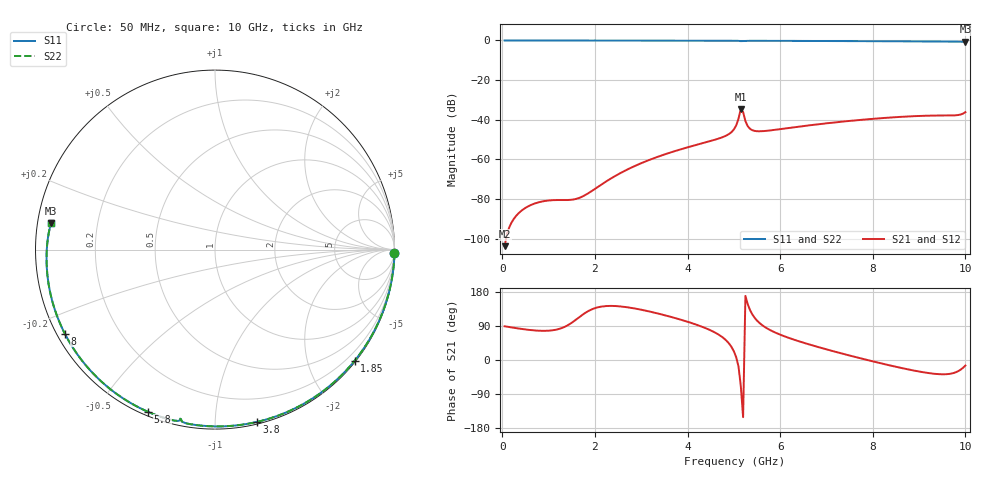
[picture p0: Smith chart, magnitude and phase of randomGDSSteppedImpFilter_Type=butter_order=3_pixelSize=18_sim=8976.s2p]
! freq	dB(S11)	phase(S11)	dB(S12)	phase(S12)
!  dB(S21)	phase(S21)	dB(S22)	phase(S22)
!S-par simulation data
#  GHz  S  DB  R 50
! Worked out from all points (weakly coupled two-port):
!   200 points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, 50 MHz to 10 GHz, reference 50 ohm
!   highest |S21| = -34.48 dB at 5.15 GHz (marker M1); lowest = -103.7 dB at 50 MHz (marker M2)
!   lowest |S11| = -0.7 dB at 10 GHz (marker M3), VSWR 25.72, Z = 1.96 + j3.98 ohm
!   |S11| at or under -10 dB: nowhere
!   |S22| runs from -0.7 to 0.0 dB; largest |S21 - S12| = 0
!   S11 on the Smith chart (normalised r, x): 50 MHz: open; 1.85 GHz: 0.03, -2.87; 3.8 GHz: 0.02, -1.27; 5.8 GHz: 0.02, -0.67; 8 GHz: 0.02, -0.26; 10 GHz: 0.04, +0.08
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0.05  -0.00 -1.1  -103.71 89.0  -103.71 89.0  -0.00 -1.1
1.55  -0.04 -32.3  -80.11 102.7  -80.11 102.7  -0.04 -32.3
1.75  -0.05 -36.4  -78.46 120.9  -78.46 120.9  -0.05 -36.4
1.85  -0.05 -38.4  -77.13 128.6  -77.13 128.6  -0.05 -38.4
2.6  -0.07 -53.4  -66.25 140.7  -66.25 140.7  -0.07 -53.4
3.4  -0.09 -68.9  -58.29 121.5  -58.29 121.5  -0.09 -68.9
3.8  -0.10 -76.5  -55.25 108.3  -55.25 108.3  -0.10 -76.5
4.8  -0.14 -94.9  -48.34 55.6  -48.34 55.6  -0.14 -94.9
4.95  -0.15 -97.7  -46.19 34.3  -46.19 34.3  -0.15 -97.7
5.05  -0.17 -99.6  -42.89 7.6  -42.89 7.6  -0.17 -99.6
5.15  -0.34 -101.6  -34.48 -68.2  -34.48 -68.2  -0.34 -101.6
5.2  -0.29 -101.2  -36.09 -150.8  -36.09 -150.8  -0.29 -101.2
5.25  -0.20 -102.2  -40.67 169.2  -40.67 169.2  -0.20 -102.3
5.3  -0.18 -103.3  -43.22 147.0  -43.22 147.0  -0.18 -103.3
5.35  -0.18 -104.3  -44.56 131.6  -44.56 131.6  -0.18 -104.3
5.5  -0.18 -107.0  -45.75 104.0  -45.75 104.0  -0.18 -107.0
5.8  -0.19 -112.4  -45.31 77.9  -45.31 77.9  -0.19 -112.4
6.7  -0.25 -128.1  -42.59 38.5  -42.59 38.5  -0.25 -128.1
8  -0.37 -150.8  -39.52 -3.6  -39.52 -3.6  -0.37 -150.8
8.35  -0.40 -157.0  -38.90 -13.7  -38.90 -13.7  -0.40 -157.0
9.8  -0.61 175.2  -37.70 -32.0  -37.70 -32.0  -0.61 175.2
10  -0.68 170.9  -36.15 -14.7  -36.15 -14.7  -0.68 170.8
